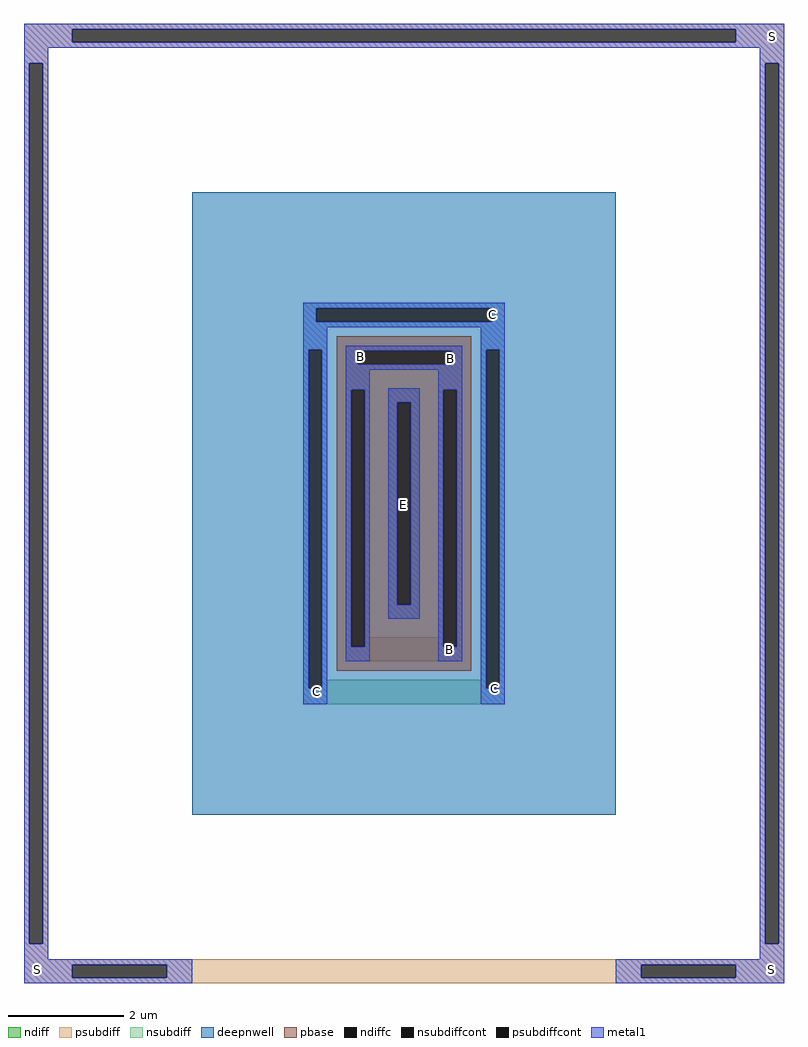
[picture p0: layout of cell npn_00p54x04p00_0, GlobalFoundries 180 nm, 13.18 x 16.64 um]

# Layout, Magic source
magic
tech gf180mcuD
magscale 1 10
<< deepnwell >>
rect -680 -680 788 1480
<< pbase >>
rect -180 -180 288 980
<< ndiff >>
rect 0 752 108 800
rect 0 48 31 752
rect 77 48 108 752
rect 0 0 108 48
<< ndiffc >>
rect 31 48 77 752
<< psubdiff >>
rect -1264 2045 1372 2064
rect -1264 1999 -1097 2045
rect 1205 1999 1372 2045
rect -1264 1980 1372 1999
rect -1264 1927 -1180 1980
rect -1264 -1127 -1245 1927
rect -1199 -1127 -1180 1927
rect 1288 1927 1372 1980
rect -148 929 256 948
rect -148 883 -109 929
rect 219 883 256 929
rect -148 864 256 883
rect -148 795 -64 864
rect -148 -97 -129 795
rect -83 -64 -64 795
rect 172 795 256 864
rect 172 -64 191 795
rect -83 -97 191 -64
rect 237 -97 256 795
rect -148 -148 256 -97
rect -1264 -1180 -1180 -1127
rect 1288 -1127 1307 1927
rect 1353 -1127 1372 1927
rect 1288 -1180 1372 -1127
rect -1264 -1199 1372 -1180
rect -1264 -1245 -1097 -1199
rect -769 -1245 877 -1199
rect 1205 -1245 1372 -1199
rect -1264 -1264 1372 -1245
<< nsubdiff >>
rect -296 1077 404 1096
rect -296 1031 -251 1077
rect 359 1031 404 1077
rect -296 1012 404 1031
rect -296 933 -212 1012
rect -296 -241 -277 933
rect -231 -212 -212 933
rect 320 933 404 1012
rect 320 -212 339 933
rect -231 -241 339 -212
rect 385 -241 404 933
rect -296 -296 404 -241
<< psubdiffcont >>
rect -1097 1999 1205 2045
rect -1245 -1127 -1199 1927
rect -109 883 219 929
rect -129 -97 -83 795
rect 191 -97 237 795
rect 1307 -1127 1353 1927
rect -1097 -1245 -769 -1199
rect 877 -1245 1205 -1199
<< nsubdiffcont >>
rect -251 1031 359 1077
rect -277 -241 -231 933
rect 339 -241 385 933
<< metal1 >>
rect -1264 2045 1372 2064
rect -1264 1999 -1097 2045
rect 1205 1999 1372 2045
rect -1264 1980 1372 1999
rect -1264 1927 -1180 1980
rect -1264 -1127 -1245 1927
rect -1199 -1127 -1180 1927
rect 1288 1927 1372 1980
rect -296 1077 404 1096
rect -296 1031 -251 1077
rect 359 1031 404 1077
rect -296 1012 404 1031
rect -296 933 -212 1012
rect -296 -241 -277 933
rect -231 -241 -212 933
rect -148 929 256 948
rect -148 883 -109 929
rect 219 883 256 929
rect -148 864 256 883
rect -148 795 -64 864
rect -148 -97 -129 795
rect -83 -97 -64 795
rect 0 752 108 800
rect 0 48 31 752
rect 77 48 108 752
rect 0 0 108 48
rect 172 795 256 864
rect -148 -148 -64 -97
rect 172 -97 191 795
rect 237 -97 256 795
rect 172 -148 256 -97
rect 320 933 404 1012
rect -296 -296 -212 -241
rect 320 -241 339 933
rect 385 -241 404 933
rect 320 -296 404 -241
rect -1264 -1180 -1180 -1127
rect 1288 -1127 1307 1927
rect 1353 -1127 1372 1927
rect 1288 -1180 1372 -1127
rect -1264 -1199 -680 -1180
rect -1264 -1245 -1097 -1199
rect -769 -1245 -680 -1199
rect -1264 -1264 -680 -1245
rect 788 -1199 1372 -1180
rect 788 -1245 877 -1199
rect 1205 -1245 1372 -1199
rect 788 -1264 1372 -1245
<< labels >>
flabel ndiffc 52 398 52 398 0 FreeSans 400 0 0 0 E
flabel psubdiffcont -98 911 -98 911 0 FreeSans 400 0 0 0 B
flabel metal1 212 -107 212 -107 0 FreeSans 400 0 0 0 B
flabel psubdiffcont 214 904 214 904 0 FreeSans 400 0 0 0 B
flabel metal1 -248 -253 -248 -253 0 FreeSans 400 0 0 0 C
flabel metal1 367 -242 367 -242 0 FreeSans 400 0 0 0 C
flabel metal1 361 1055 361 1055 0 FreeSans 400 0 0 0 C
flabel metal1 1328 -1218 1328 -1218 0 FreeSans 400 0 0 0 S
flabel metal1 1328 -1218 1328 -1218 0 FreeSans 400 0 0 0 S
flabel metal1 1331 2021 1331 2021 0 FreeSans 400 0 0 0 S
flabel metal1 -1218 -1215 -1218 -1215 0 FreeSans 400 0 0 0 S
flabel metal1 -1218 -1215 -1218 -1215 0 FreeSans 400 0 0 0 S
<< properties >>
string GDS_END 13804
string GDS_FILE $PDKPATH/libs.ref/gf180mcu_fd_pr/gds/npn_00p54x04p00.gds
string GDS_START 112
string gencell npn_00p54x04p00
string library gf180mcu
string parameter m=1
<< end >>
